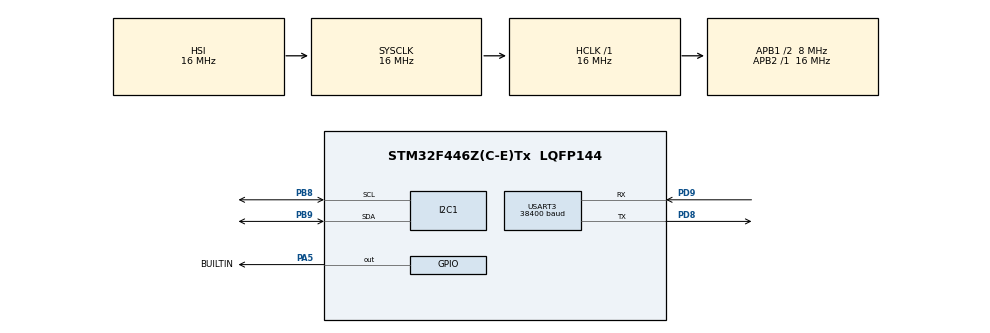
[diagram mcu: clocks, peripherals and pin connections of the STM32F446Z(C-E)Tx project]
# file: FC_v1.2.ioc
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FREERTOS.Tasks01=Ejection1,32,512,StartEjection1,Default,NULL,Dynamic,NULL,NULL;Telemetry2,40,512,StartTelemetry2,Default,NULL,Dynamic,NULL,NULL;Sensors3,24,128,StartSensors3,Default,NULL,Dynamic,NULL,NULL;Propulsion4,24,128,StartPropulsion4,Default,NULL,Dynamic,NULL,NULL;Memory0,48,512,StartMemory0,Default,NULL,Dynamic,NULL,NULL
FREERTOS.configUSE_NEWLIB_REENTRANT=1
Mcu.Family=STM32F4
Mcu.Name=STM32F446Z(C-E)Tx
Mcu.Package=LQFP144
NVIC.PriorityGroup=NVIC_PRIORITYGROUP_4
NVIC.RTC_Alarm_IRQn=true\:5\:0\:false\:false\:true\:true\:true\:true
NVIC.TIM6_DAC_IRQn=true\:15\:0\:false\:false\:true\:false\:false\:true
NVIC.TimeBase=TIM6_DAC_IRQn
NVIC.TimeBaseIP=TIM6
PA5.GPIO_Label=BUILTIN
PA5.Signal=GPIO_Output
PB8.Mode=I2C
PB8.Signal=I2C1_SCL
PB9.Mode=I2C
PB9.Signal=I2C1_SDA
PD8.Mode=Asynchronous
PD8.Signal=USART3_TX
PD9.Mode=Asynchronous
PD9.Signal=USART3_RX
ProjectManager.HeapSize=0x200
ProjectManager.StackSize=0x400
ProjectManager.TargetToolchain=STM32CubeIDE
RCC.48MHZClocksFreq_Value=24000000
RCC.AHBFreq_Value=16000000
RCC.APB1CLKDivider=RCC_HCLK_DIV2
RCC.APB1Freq_Value=8000000
RCC.APB1TimFreq_Value=16000000
RCC.APB2Freq_Value=16000000
RCC.APB2TimFreq_Value=16000000
RCC.CortexFreq_Value=16000000
RCC.HCLKFreq_Value=16000000
RCC.HSE_VALUE=8000000
RCC.HSI_VALUE=16000000
RCC.LSE_VALUE=32768
RCC.PLLMUL=RCC_PLL_MUL9
RCC.PRESCALERUSB=RCC_USBCLKSOURCE_PLL_DIV1_5
RCC.SYSCLKFreq_VALUE=16000000
RCC.SYSCLKSourceVirtual=RCC_SYSCLKSOURCE_PLLCLK
RCC.USBFreq_Value=96000000
RCC.VCOOutputFreq_Value=192000000
RTC.Alarm=RTC_ALARM_A
RTC.Seconds_A=30
USART3.BaudRate=38400
USART3.VirtualMode=VM_ASYNC
VP_FREERTOS_VS_CMSIS_V2.Mode=CMSIS_V2
VP_RTC_VS_RTC_Activate.Mode=RTC_Enabled
VP_RTC_VS_RTC_Alarm_A_Intern.Mode=Alarm A
VP_RTC_VS_RTC_Calendar.Mode=RTC_Calendar
VP_SYS_VS_tim6.Mode=TIM6
board=NUCLEO-F446ZE

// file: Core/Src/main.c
/* USER CODE BEGIN Header */
/**
  ******************************************************************************
  * @file           : main.c
  * @brief          : Main program body
  ******************************************************************************
  * @attention
  *
  * <h2><center>&copy; Copyright (c) 2022 STMicroelectronics.
  * All rights reserved.</center></h2>
  *
  * This software component is licensed by ST under BSD 3-Clause license,
  * the "License"; You may not use this file except in compliance with the
  * License. You may obtain a copy of the License at:
  *                        opensource.org/licenses/BSD-3-Clause
  *
  ******************************************************************************
  */
/* USER CODE END Header */
#include "main.h"
#include "cmsis_os.h"

/* USER CODE BEGIN Includes */

#include <MRT_RTOS.h>
#include <IridiumSBD_Static_API.h>
#include <MRT_Helpers.h>
#include "lsm6dsr_reg.h"

/* USER CODE END Includes */

/* USER CODE BEGIN PD */

#define DIAGNOSTICS false

/* USER CODE END PD */

I2C_HandleTypeDef hi2c1;

RTC_HandleTypeDef hrtc;

UART_HandleTypeDef huart3;

/* Definitions for Ejection1 */
osThreadId_t Ejection1Handle;
const osThreadAttr_t Ejection1_attributes = {
  .name = "Ejection1",
  .stack_size = 512 * 4,
  .priority = (osPriority_t) osPriorityAboveNormal,
};
/* Definitions for Telemetry2 */
osThreadId_t Telemetry2Handle;
const osThreadAttr_t Telemetry2_attributes = {
  .name = "Telemetry2",
  .stack_size = 512 * 4,
  .priority = (osPriority_t) osPriorityHigh,
};
/* Definitions for Sensors3 */
osThreadId_t Sensors3Handle;
const osThreadAttr_t Sensors3_attributes = {
  .name = "Sensors3",
  .stack_size = 128 * 4,
  .priority = (osPriority_t) osPriorityNormal,
};
/* Definitions for Propulsion4 */
osThreadId_t Propulsion4Handle;
const osThreadAttr_t Propulsion4_attributes = {
  .name = "Propulsion4",
  .stack_size = 128 * 4,
  .priority = (osPriority_t) osPriorityNormal,
};
/* Definitions for Memory0 */
osThreadId_t Memory0Handle;
const osThreadAttr_t Memory0_attributes = {
  .name = "Memory0",
  .stack_size = 512 * 4,
  .priority = (osPriority_t) osPriorityRealtime,
};
/* USER CODE BEGIN PV */

//General
osThreadId_t threadID[5];
bool wakingUp;

//Ejection (just invented variables for the sake of testing)
uint8_t MIN_APOGEE = 20;
uint8_t MAX_APOGEE = 30;
uint8_t DEPLOY_ALT_MIN = 60;
uint8_t DEPLOY_ALT_MAX = 65;
uint8_t GROUND_LEVEL = 20;

//Telemetry
uint8_t SLEEP_TIME = 10;
uint8_t DATA_FREQ = 1; //Times per second that you want to save data
uint8_t SEND_FREQ = 0.2; //Times per second that you want to transmit data

//MUTEXES TODO we should actually implement real mutexes
uint8_t sensorsPolling;
uint8_t dataWriting;

/* USER CODE END PV */

void SystemClock_Config(void);
static void MX_GPIO_Init(void);
static void MX_I2C1_Init(void);
static void MX_RTC_Init(void);
static void MX_USART3_UART_Init(void);
void StartEjection1(void *argument);
void StartTelemetry2(void *argument);
void StartSensors3(void *argument);
void StartPropulsion4(void *argument);
void StartMemory0(void *argument);

int main(void)
{

  /* MCU Configuration--------------------------------------------------------*/

  /* Reset of all peripherals, Initializes the Flash interface and the Systick. */
  HAL_Init();

  /* Configure the system clock */
  SystemClock_Config();

  /* Initialize all configured peripherals */
  MX_GPIO_Init();
  MX_I2C1_Init();
  MX_RTC_Init();
  MX_USART3_UART_Init();
  /* USER CODE BEGIN 2 */

  checkForI2CDevices(huart3,hi2c1);

  //TODO
  /*
   * In general:
   *-Activate I2C1 and use pins PB8 and PB9
   *-Activate usart3 and use pins PD9 and PD8 and set the baud rate
   *-Activate freeRTOS
   *-Change SysTic to any other timer
   *-Include the path to all includes folders of the drivers (for C and C++ linkers)
   */

  /*
   * For Iridium:
   * -Set the project as c++
   */
   wakingUp = MRT_Static_Iridium_Setup(huart3);

  /*
   * For LSM6DSR
   *-Enable float formatting for sprintf (go to Project->Properties->C/C++ Build->Settings->MCU Settings->Check the box "Use float with printf")
   */
   MRT_LSM6DSR_Setup(&dev_ctx,&hi2c1,&huart3);

  /*
   * For RTOS
   * -Activate RTC, calendar and internal alarm A (don't forget to activate NVIC EXTI)
   * -Define what you want in the alarms callback functions (check the .h file)
   * -(Optional) Setup alarm A and the clock time in .ioc
   * The rest have been taken care of
   * You can access the flag of both alarm A and B with the variables flagA and flagB
   */
  MRT_SetupRTOS(huart3,10);

  HAL_UART_Transmit(&huart3,"\r\n\r\nStarting FC\r\n\r\n",19,HAL_MAX_DELAY);

  /* USER CODE END 2 */

  /* Init scheduler */
  osKernelInitialize();

  /* Create the thread(s) */
  /* creation of Ejection1 */
  Ejection1Handle = osThreadNew(StartEjection1, NULL, &Ejection1_attributes);

  /* creation of Telemetry2 */
  Telemetry2Handle = osThreadNew(StartTelemetry2, NULL, &Telemetry2_attributes);

  /* creation of Sensors3 */
  Sensors3Handle = osThreadNew(StartSensors3, NULL, &Sensors3_attributes);

  /* creation of Propulsion4 */
  Propulsion4Handle = osThreadNew(StartPropulsion4, NULL, &Propulsion4_attributes);

  /* creation of Memory0 */
  Memory0Handle = osThreadNew(StartMemory0, NULL, &Memory0_attributes);

  /* Start scheduler */
  osKernelStart();

  /* We should never get here as control is now taken by the scheduler */
  /* Infinite loop */
  while (1)
  {

  }
}

void SystemClock_Config(void)
{
  RCC_OscInitTypeDef RCC_OscInitStruct = {0};
  RCC_ClkInitTypeDef RCC_ClkInitStruct = {0};

  /** Configure the main internal regulator output voltage
  */
  __HAL_RCC_PWR_CLK_ENABLE();
  __HAL_PWR_VOLTAGESCALING_CONFIG(PWR_REGULATOR_VOLTAGE_SCALE3);
  /** Initializes the RCC Oscillators according to the specified parameters
  * in the RCC_OscInitTypeDef structure.
  */
  RCC_OscInitStruct.OscillatorType = RCC_OSCILLATORTYPE_HSI|RCC_OSCILLATORTYPE_LSI;
  RCC_OscInitStruct.LSEState = RCC_LSE_OFF;
  RCC_OscInitStruct.HSIState = RCC_HSI_ON;
  RCC_OscInitStruct.HSICalibrationValue = RCC_HSICALIBRATION_DEFAULT;
  RCC_OscInitStruct.LSIState = RCC_LSI_ON;
  RCC_OscInitStruct.PLL.PLLState = RCC_PLL_NONE;
  if (HAL_RCC_OscConfig(&RCC_OscInitStruct) != HAL_OK)
  {
    Error_Handler();
  }
  /** Initializes the CPU, AHB and APB buses clocks
  */
  RCC_ClkInitStruct.ClockType = RCC_CLOCKTYPE_HCLK|RCC_CLOCKTYPE_SYSCLK
                              |RCC_CLOCKTYPE_PCLK1|RCC_CLOCKTYPE_PCLK2;
  RCC_ClkInitStruct.SYSCLKSource = RCC_SYSCLKSOURCE_HSI;
  RCC_ClkInitStruct.AHBCLKDivider = RCC_SYSCLK_DIV1;
  RCC_ClkInitStruct.APB1CLKDivider = RCC_HCLK_DIV2;
  RCC_ClkInitStruct.APB2CLKDivider = RCC_HCLK_DIV1;

  if (HAL_RCC_ClockConfig(&RCC_ClkInitStruct, FLASH_LATENCY_0) != HAL_OK)
  {
    Error_Handler();
  }
}

static void MX_I2C1_Init(void)
{

  hi2c1.Instance = I2C1;
  hi2c1.Init.ClockSpeed = 100000;
  hi2c1.Init.DutyCycle = I2C_DUTYCYCLE_2;
  hi2c1.Init.OwnAddress1 = 0;
  hi2c1.Init.AddressingMode = I2C_ADDRESSINGMODE_7BIT;
  hi2c1.Init.DualAddressMode = I2C_DUALADDRESS_DISABLE;
  hi2c1.Init.OwnAddress2 = 0;
  hi2c1.Init.GeneralCallMode = I2C_GENERALCALL_DISABLE;
  hi2c1.Init.NoStretchMode = I2C_NOSTRETCH_DISABLE;
  if (HAL_I2C_Init(&hi2c1) != HAL_OK)
  {
    Error_Handler();
  }

}

static void MX_RTC_Init(void)
{

  RTC_TimeTypeDef sTime = {0};
  RTC_DateTypeDef sDate = {0};
  RTC_AlarmTypeDef sAlarm = {0};

  /** Initialize RTC Only
  */
  hrtc.Instance = RTC;
  hrtc.Init.HourFormat = RTC_HOURFORMAT_24;
  hrtc.Init.AsynchPrediv = 127;
  hrtc.Init.SynchPrediv = 255;
  hrtc.Init.OutPut = RTC_OUTPUT_DISABLE;
  hrtc.Init.OutPutPolarity = RTC_OUTPUT_POLARITY_HIGH;
  hrtc.Init.OutPutType = RTC_OUTPUT_TYPE_OPENDRAIN;
  if (HAL_RTC_Init(&hrtc) != HAL_OK)
  {
    Error_Handler();
  }

  /** Initialize RTC and set the Time and Date
  */
  sTime.Hours = 0x0;
  sTime.Minutes = 0x0;
  sTime.Seconds = 0x0;
  sTime.DayLightSaving = RTC_DAYLIGHTSAVING_NONE;
  sTime.StoreOperation = RTC_STOREOPERATION_RESET;
  if (HAL_RTC_SetTime(&hrtc, &sTime, RTC_FORMAT_BCD) != HAL_OK)
  {
    Error_Handler();
  }
  sDate.WeekDay = RTC_WEEKDAY_MONDAY;
  sDate.Month = RTC_MONTH_JANUARY;
  sDate.Date = 0x1;
  sDate.Year = 0x0;

  if (HAL_RTC_SetDate(&hrtc, &sDate, RTC_FORMAT_BCD) != HAL_OK)
  {
    Error_Handler();
  }
  /** Enable the Alarm A
  */
  sAlarm.AlarmTime.Hours = 0x0;
  sAlarm.AlarmTime.Minutes = 0x0;
  sAlarm.AlarmTime.Seconds = 0x30;
  sAlarm.AlarmTime.SubSeconds = 0x0;
  sAlarm.AlarmTime.DayLightSaving = RTC_DAYLIGHTSAVING_NONE;
  sAlarm.AlarmTime.StoreOperation = RTC_STOREOPERATION_RESET;
  sAlarm.AlarmMask = RTC_ALARMMASK_NONE;
  sAlarm.AlarmSubSecondMask = RTC_ALARMSUBSECONDMASK_ALL;
  sAlarm.AlarmDateWeekDaySel = RTC_ALARMDATEWEEKDAYSEL_DATE;
  sAlarm.AlarmDateWeekDay = 0x1;
  sAlarm.Alarm = RTC_ALARM_A;
  if (HAL_RTC_SetAlarm_IT(&hrtc, &sAlarm, RTC_FORMAT_BCD) != HAL_OK)
  {
    Error_Handler();
  }

}

static void MX_USART3_UART_Init(void)
{

  huart3.Instance = USART3;
  huart3.Init.BaudRate = 38400;
  huart3.Init.WordLength = UART_WORDLENGTH_8B;
  huart3.Init.StopBits = UART_STOPBITS_1;
  huart3.Init.Parity = UART_PARITY_NONE;
  huart3.Init.Mode = UART_MODE_TX_RX;
  huart3.Init.HwFlowCtl = UART_HWCONTROL_NONE;
  huart3.Init.OverSampling = UART_OVERSAMPLING_16;
  if (HAL_UART_Init(&huart3) != HAL_OK)
  {
    Error_Handler();
  }

}

static void MX_GPIO_Init(void)
{
  GPIO_InitTypeDef GPIO_InitStruct = {0};

  /* GPIO Ports Clock Enable */
  __HAL_RCC_GPIOA_CLK_ENABLE();
  __HAL_RCC_GPIOD_CLK_ENABLE();
  __HAL_RCC_GPIOB_CLK_ENABLE();

  /*Configure GPIO pin Output Level */
  HAL_GPIO_WritePin(BUILTIN_GPIO_Port, BUILTIN_Pin, GPIO_PIN_RESET);

  /*Configure GPIO pin : BUILTIN_Pin */
  GPIO_InitStruct.Pin = BUILTIN_Pin;
  GPIO_InitStruct.Mode = GPIO_MODE_OUTPUT_PP;
  GPIO_InitStruct.Pull = GPIO_NOPULL;
  GPIO_InitStruct.Speed = GPIO_SPEED_FREQ_LOW;
  HAL_GPIO_Init(BUILTIN_GPIO_Port, &GPIO_InitStruct);

}

void StartEjection1(void *argument)
{
  /* USER CODE BEGIN 5 */

	//Add thread id to the list
	threadID[1]=osThreadGetId();

	if (wakingUp) osThreadExit();

	uint8_t pressure;
	uint8_t altitude;
	char* buffer = (char*) pvPortMalloc(TX_BUF_DIM);

  /* Infinite loop */
  for(;;)
  {
	  sensorsPolling = true;
	  //Poll altitude (poll pressure)

	  memset(buffer, 0, TX_BUF_DIM);
	  MRT_LSM6DSR_getTemperature(data_raw_temperature,temperature_degC);
	  sprintf((char *)buffer, "Temperature [degC]:%6.2f\r\n", temperature_degC[0] );sprintf((char *)buffer, "Temperature [degC]:%f\r\n", temperature_degC[0] );
	  HAL_UART_Transmit(&huart3, buffer, strlen(buffer), HAL_MAX_DELAY);

	  pressure = ((uint8_t) temperature_degC[0]);

	  sensorsPolling = false;

	  if (MIN_APOGEE <= pressure && MAX_APOGEE > pressure){

		  //Eject drogue (PG11/PG12)
		  HAL_UART_Transmit(&huart3, "Eject Drogue\r\n", 15, HAL_MAX_DELAY);

		  for(;;){

			  memset(buffer, 0, TX_BUF_DIM);
			  MRT_LSM6DSR_getAcceleration(data_raw_acceleration,acceleration_mg);
			  sprintf((char *)buffer, "Acceleration [mg]:%4.2f\t%4.2f\t%4.2f\r\n",acceleration_mg[0], acceleration_mg[1], acceleration_mg[2]);
			  HAL_UART_Transmit(&huart3, buffer, strlen(buffer), HAL_MAX_DELAY);

			  memset(buffer, 0, TX_BUF_DIM);
			  MRT_LSM6DSR_getAngularRate(data_raw_angular_rate,angular_rate_mdps);
			  sprintf((char *)buffer,"Angular rate [mdps]:%4.2f\t%4.2f\t%4.2f\r\n",angular_rate_mdps[0], angular_rate_mdps[1], angular_rate_mdps[2]);
			  HAL_UART_Transmit(&huart3, buffer, strlen(buffer), HAL_MAX_DELAY);

			  altitude = acceleration_mg[0];

			  //We reached main deployment altitude
			  if (altitude>DEPLOY_ALT_MIN && altitude<DEPLOY_ALT_MAX){

				  vPortFree(buffer);

				  //Eject main ()
				  HAL_UART_Transmit(&huart3, "Eject Main\r\n", 13, HAL_MAX_DELAY);

				  for(;;){

					  sensorsPolling = true;
					  //Poll altitude
					  sensorsPolling = false;

					  if (altitude < GROUND_LEVEL)  osThreadExit();

					  osDelay(100);
				  }
			  }

			  osDelay(100);
		  }
	  }

    osDelay(100);
  }

  //In case it leaves the infinite loop
  HAL_UART_Transmit(&huart3,"Something went wrong with thread 1\r\n",36,HAL_MAX_DELAY);
  vPortFree(buffer);
  osThreadExit();

  /* USER CODE END 5 */
}

void StartTelemetry2(void *argument)
{
  /* USER CODE BEGIN StartTelemetry2 */

	//Add thread id to the list
	threadID[2]=osThreadGetId();

	//Make the thread joinable?

  /* Infinite loop */
  for(;;)
  {
	  //Poll sensor data in other thread
	  while(sensorsPolling){osDelay(1);}

		  //Send data via radios:

		  //Radio send

		  //Iridium send
		  MRT_Static_Iridium_getTime();

    osDelay(1000/SEND_FREQ);
  }

  //In case it leaves the infinite loop
  HAL_UART_Transmit(&huart3,"Something went wrong with thread 2\r\n",36,HAL_MAX_DELAY);
  osThreadExit();
  /* USER CODE END StartTelemetry2 */
}

void StartSensors3(void *argument)
{
  /* USER CODE BEGIN StartSensors3 */

	osThreadExit();

	//Add thread id to the list
	threadID[3]=osThreadGetId();

  for(;;)
  {
    osDelay(1);
  }

  //In case it leaves the infinite loop
  HAL_UART_Transmit(&huart3,"Something went wrong with thread 3\r\n",36,HAL_MAX_DELAY);
  osThreadExit();
  /* USER CODE END StartSensors3 */
}

void StartPropulsion4(void *argument)
{
  /* USER CODE BEGIN StartPropulsion4 */
	osThreadExit();

	//Add thread id to the list
	threadID[4]=osThreadGetId();

	if (wakingUp) osThreadExit();

  for(;;)
  {
	  sensorsPolling = true;
	  //Poll sensor data (burnout level)
	  sensorsPolling = false;

	  //Write to SD and SEND

    osDelay(1);
  }

  //In case it leaves the infinite loop
  HAL_UART_Transmit(&huart3,"Something went wrong with thread 4\r\n",36,HAL_MAX_DELAY);
  osThreadExit();
  /* USER CODE END StartPropulsion4 */
}

void StartMemory0(void *argument)
{
  /* USER CODE BEGIN StartMemory0 */

	osThreadExit();

	//Add thread id to the list
	threadID[0]=osThreadGetId();

  /* Infinite loop */
  for(;;)
  {
	  //Poll sensor data in other thread
	  	  while(sensorsPolling){osDelay(1);}
	  		  dataWriting = true;

	  		  //Write data to sd and flash

	  		  //Check if it's sleep time
	  		  if (flagA==1){
	  			  MRT_Static_Iridium_Shutdown();

	  			  MRT_StandByMode(SLEEP_TIME);
	  		  }
	  		  dataWriting = false;

	      osDelay(1000/DATA_FREQ);
  }

  //In case it leaves the infinite loop
  HAL_UART_Transmit(&huart3,"Something went wrong with thread 0\r\n",36,HAL_MAX_DELAY);
  osThreadExit();
  /* USER CODE END StartMemory0 */
}

void HAL_TIM_PeriodElapsedCallback(TIM_HandleTypeDef *htim)
{
  if (htim->Instance == TIM6) {
    HAL_IncTick();
  }
}

void Error_Handler(void)
{
  __disable_irq();
  while (1)
  {
  }
}

/************************ (C) COPYRIGHT STMicroelectronics *****END OF FILE****/
